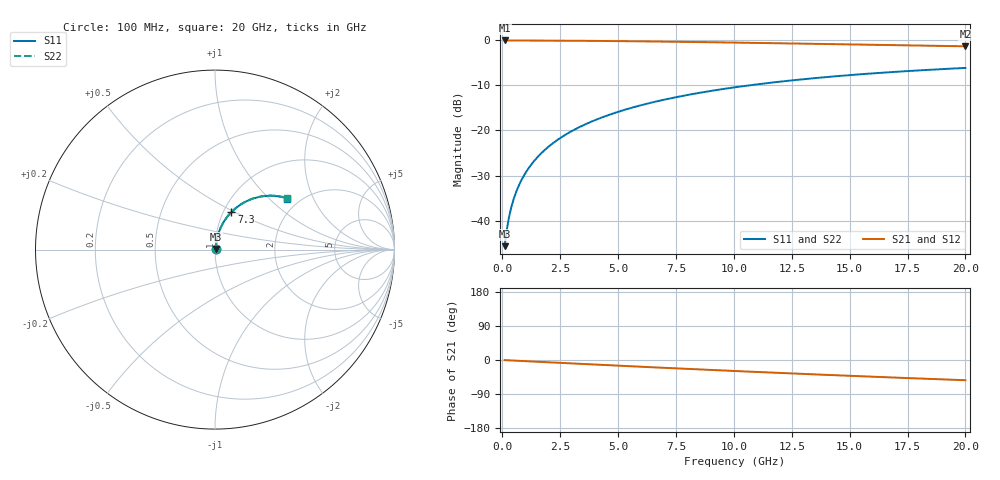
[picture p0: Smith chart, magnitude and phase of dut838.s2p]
! Touchstone file exported from HFSS 2026.1.0
!  File:  C:/ffzhzh/LocalFiles/Ansys_Project_Files/temp_train_TMRDL_838_1783156742_22436.aedt
!  Generated:  05:20:35 PM Jul  4, 2026
!  Design:  TMRDL
!  Project:  temp_train_TMRDL_838_1783156742_22436
! Variables:
!  h_bsmrdl = 2um
!  h_ox = 20um
!  h_rdl = 5um
!  h_sub = 80um
!  h_tmrdl = 3.45um
!  h_tsv = 80um
!  h_via = 3um
!  l_bsmrdl = 300um
!  l_sub = 1189.09um
!  l_tmrdl = 789.09um
!  m_sub = 200um
!  pitch = 56.35um
!  r_tsv = 6um
!  s_tmrdl = 10um
!  w_bsmrdl = 18um
!  w_sub = 500um
!  w_tmrdl = 22.51um
!  x_tsv_center1 = 800.345um
!  x_tsv_center2 = 1118.345um
!  x_tsv_center3 = 1929.945um
!  x_tsv_center4 = 2247.945um
!  x_tsv_center5 = 3059.545um
!  x_tsv_center6 = 3377.545um
# GHz S MA R 50.000000
! Terminal data exported
! Port[1] = TM_RDL1_1_T1
! Port[2] = TM_RDL1_1_T2
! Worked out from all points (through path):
!   200 points, 100 MHz to 20 GHz, reference 50 ohm
!   highest |S21| = -0.03 dB at 100 MHz (marker M1); lowest = -1.3 dB at 20 GHz (marker M2)
!   group delay of S21, straight-line fit = 7.42 ps
!   lowest |S11| = -45.7 dB at 100 MHz (marker M3), VSWR 1.01, Z = 50.4 + j0.359 ohm
!   |S11| at or under -10 dB: start of sweep to 10.66 GHz
!   |S22| runs from -45.7 to -6.1 dB; largest |S21 - S12| = 4.5e-15
!   S11 on the Smith chart (normalised r, x): 100 MHz: 1.01, +0.01; 7.3 GHz: 1.09, +0.48; 20 GHz: 1.73, +1.30
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0.1  0.005203 43.2  0.9962 -0.3  0.9962 -0.3  0.005203 43.2
! Gamma 0 0 0 0
! Port Impedance 50 0 50 0
0.2  0.008095 60.2  0.996 -0.6  0.996 -0.6  0.008095 60.2
0.3  0.01124 67.5  0.9958 -0.9  0.9958 -0.9  0.01124 67.5
0.4  0.01442 71.4  0.9956 -1.2  0.9956 -1.2  0.01442 71.4
0.5  0.01761 73.9  0.9954 -1.5  0.9954 -1.5  0.01761 73.9
0.6  0.02081 75.6  0.9953 -1.8  0.9953 -1.8  0.02081 75.6
0.8  0.02724 77.7  0.995 -2.4  0.995 -2.4  0.02724 77.7
1.1  0.03695 79.2  0.9945 -3.3  0.9945 -3.3  0.03695 79.2
1.5  0.04995 79.8  0.9938 -4.6  0.9938 -4.6  0.04995 79.8
1.8  0.0597 79.7  0.9932 -5.5  0.9932 -5.5  0.0597 79.7
2.1  0.06943 79.3  0.9924 -6.4  0.9924 -6.4  0.06943 79.4
2.7  0.08879 78.3  0.9906 -8.1  0.9906 -8.1  0.08878 78.3
3.5  0.1143 76.5  0.9875 -10.5  0.9875 -10.5  0.1143 76.5
4.2  0.1362 74.7  0.9843 -12.6  0.9843 -12.6  0.1362 74.8
5  0.1608 72.6  0.9801 -14.9  0.9801 -14.9  0.1608 72.7
6.8  0.214 67.7  0.9688 -20.1  0.9688 -20.1  0.2139 67.8
7.3  0.2281 66.3  0.9653 -21.5  0.9653 -21.5  0.2281 66.5
8.6  0.2637 62.8  0.9555 -25.1  0.9555 -25.1  0.2637 63.0
10.1  0.3025 58.9  0.9434 -29.2  0.9434 -29.2  0.3025 59.0
13.4  0.3786 50.5  0.9146 -37.8  0.9146 -37.8  0.3786 50.7
16.7  0.4422 42.6  0.8855 -45.8  0.8855 -45.8  0.4421 42.9
20  0.4938 35.2  0.8579 -53.3  0.8579 -53.3  0.4937 35.5
